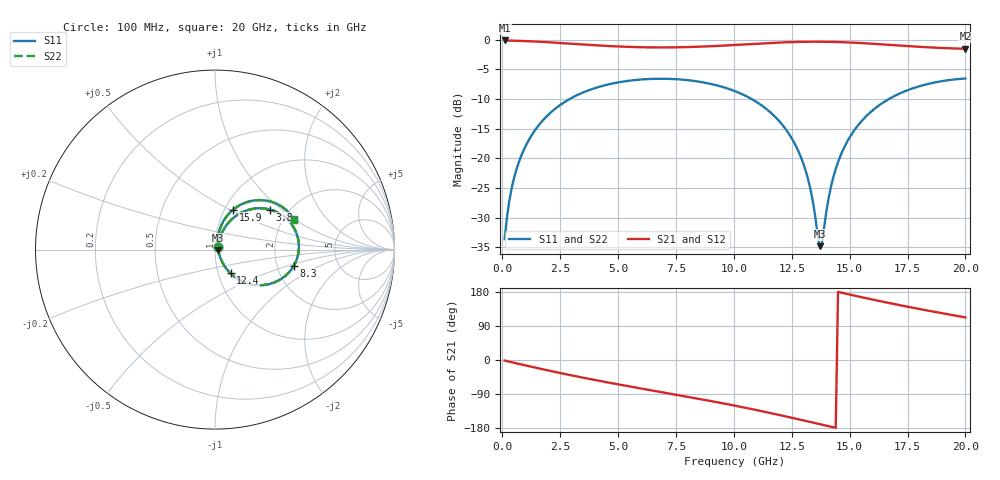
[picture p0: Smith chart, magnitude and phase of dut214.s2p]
! Touchstone file exported from HFSS 2026.1.0
!  File:  C:/ffzhzh/LocalFiles/Ansys_Project_Files/temp_train_TSV_RDL_214_1783062116_17544.aedt
!  Generated:  03:12:38 PM Jul  3, 2026
!  Design:  TSV_RDL
!  Project:  temp_train_TSV_RDL_214_1783062116_17544
! Variables:
!  h_bsmrdl = 2.23um
!  h_ox = 20um
!  h_rdl = 5um
!  h_sub = 96.8um
!  h_tmrdl = 5.5um
!  h_tsv = 96.8um
!  h_via = 3um
!  l_bsmrdl = 425.05um
!  l_sub = 3899.89um
!  l_tmrdl = 521.04um
!  m_sub = 200um
!  pitch = 51.41um
!  r_tsv = 11.99um
!  s_tmrdl = 10um
!  w_bsmrdl = 29.52um
!  w_sub = 500um
!  w_tmrdl = 17.34um
!  x_tsv_center1 = 529.71um
!  x_tsv_center2 = 984.28um
!  x_tsv_center3 = 1522.66um
!  x_tsv_center4 = 1977.23um
!  x_tsv_center5 = 2515.61um
!  x_tsv_center6 = 2970.18um
# GHz S MA R 50.000000
! Terminal data exported
! Port[1] = TM_RDL1_1_T1
! Port[2] = TM_RDL5_1_T1
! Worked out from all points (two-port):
!   200 points, 100 MHz to 20 GHz, reference 50 ohm
!   highest |S21| = -0.14 dB at 100 MHz (marker M1); lowest = -1.5 dB at 20 GHz (marker M2)
!   |S21| within 3 dB of the highest: start of sweep to end of sweep
!   lowest |S11| = -34.8 dB at 13.7 GHz (marker M3), VSWR 1.04, Z = 51.8 - j0.199 ohm
!   |S11| at or under -10 dB: start of sweep to 2.914 GHz; 10.76 GHz to 16.7 GHz (5.943 GHz wide, 43.3 % of centre)
!   |S22| runs from -34.8 to -6.6 dB; largest |S21 - S12| = 1.7e-14
!   S11 on the Smith chart (normalised r, x): 100 MHz: 1.03, +0.03; 3.8 GHz: 1.61, +0.84; 8.3 GHz: 2.47, -0.56; 12.4 GHz: 1.14, -0.31; 15.9 GHz: 1.10, +0.52; 20 GHz: 2.27, +0.98
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0.1  0.02083 39.4  0.9842 -1.5  0.9842 -1.5  0.02083 39.4
! Gamma 0 0 0 0
! Port Impedance 50 0 50 0
0.3  0.04339 62.3  0.982 -4.4  0.982 -4.4  0.04339 62.3
0.5  0.06725 66.7  0.9794 -7.3  0.9794 -7.3  0.06725 66.7
1.1  0.1373 65.8  0.9702 -15.6  0.9702 -15.6  0.1373 65.8
2.1  0.2438 55.6  0.9475 -29.2  0.9475 -29.2  0.2438 55.6
3.5  0.3593 39.5  0.9093 -46.8  0.9093 -46.8  0.3593 39.5
3.8  0.3785 36.1  0.9015 -50.4  0.9015 -50.4  0.3785 36.1
6.8  0.4681 4.1  0.8594 -83.9  0.8594 -83.9  0.4681 4.1
8.3  0.448 -11.6  0.869 -100.3  0.869 -100.3  0.448 -11.6
10.1  0.3643 -31.4  0.9032 -121.2  0.9032 -121.2  0.3643 -31.4
11.4  0.2606 -46.3  0.9338 -137.6  0.9338 -137.6  0.2606 -46.3
12.4  0.1582 -56.9  0.9524 -151.0  0.9524 -151.0  0.1582 -56.9
13  0.09024 -60.1  0.9589 -159.3  0.9589 -159.3  0.09021 -60.2
13.4  0.0445 -53.6  0.9607 -164.9  0.9607 -164.9  0.04447 -53.7
13.7  0.01814 -6.1  0.9606 -169.1  0.9606 -169.1  0.0181 -6.1
13.8  0.01898 30.5  0.9603 -170.5  0.9603 -170.5  0.01896 30.5
14.1  0.0469 71.7  0.9586 -174.8  0.9586 -174.8  0.0469 71.7
14.5  0.09279 77.3  0.9543 179.7  0.9543 179.7  0.09281 77.3
15.1  0.1608 73.8  0.9444 171.4  0.9444 171.4  0.1609 73.8
15.9  0.2443 65.5  0.9259 160.7  0.9259 160.7  0.2443 65.5
16.7  0.3161 56.5  0.9043 150.4  0.9043 150.4  0.3161 56.5
20  0.4704 20.9  0.8381 112.4  0.8381 112.4  0.4704 20.9
